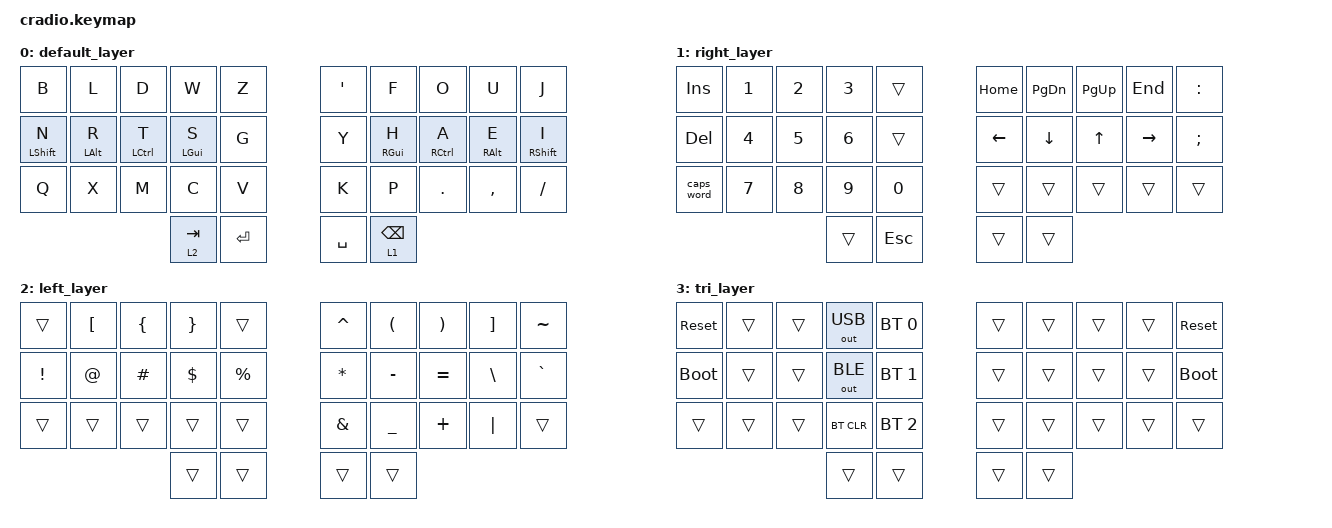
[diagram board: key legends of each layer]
// Copyright (c) 2022 The ZMK Contributors
// SPDX-License-Identifier: MIT

#include <behaviors.dtsi>
#include <dt-bindings/zmk/keys.h>
#include <dt-bindings/zmk/bt.h>
#include <dt-bindings/zmk/outputs.h>

/ {
    behaviors {
        ht: hold_tap {
            compatible = "zmk,behavior-hold-tap";
            #binding-cells = <2>;
            flavor = "tap-preferred";
            tapping-term-ms = <220>;
            quick-tap-ms = <150>;
            require-prior-idle-ms = <100>;
            bindings = <&kp>, <&kp>;
        };
    };

    conditional_layers {
        compatible = "zmk,conditional-layers";
        tri_layer {
            if-layers = <1 2>;
            then-layer = <3>;
        };
    };

    keymap {
        compatible = "zmk,keymap";
        default_layer {
            bindings = <
            &kp       B &kp       L  &kp        D &kp       W  &kp  Z     &kp SQT &kp       F &kp       O &kp       U     &kp       J
            &ht LSHFT N &ht LALT  R  &ht LCTRL  T &ht LGUI  S  &kp  G     &kp Y   &ht RGUI  H &ht RCTRL A &ht RALT  E     &ht RSHFT I
            &kp       Q &kp       X  &kp        M &kp       C  &kp  V     &kp K   &kp       P &kp       DOT &kp     COMMA &kp       FSLH
                                            &lt 2 TAB   &kp ENTER     &kp SPACE  &lt 1 BSPC
            >;
        };

        right_layer {
            bindings = <
        //╭──────────┬──────────┬──────────┬──────────┬──────────╮   ╭──────────┬──────────┬──────────┬──────────┬──────────╮
        //│ INSERT   │  1       │  2       │  3       │          │   │ HOME     │ PAGE DN  │ PAGE UP  │ END      │  :       │
            &kp INS    &kp N1     &kp N2     &kp N3     &trans         &kp HOME   &kp PG_DN  &kp PG_UP  &kp END    &kp COLON
        //├──────────┼──────────┼──────────┼──────────┼──────────┤   ├──────────┼──────────┼──────────┼──────────┼──────────┤
        //│ DELETE   │  4       │  5       │  6       │          │   │ LEFT     │ DOWN     │ UP       │ RIGHT    │  ;       │
            &kp DEL    &kp N4     &kp N5     &kp N6     &trans         &kp LEFT   &kp DOWN   &kp UP   &kp RIGHT   &kp SEMI
        //├──────────┼──────────┼──────────┼──────────┼──────────┤   ├──────────┼──────────┼──────────┼──────────┼──────────┤
        //│ CAPS     │  7       │  8       │  9       │  0       │   │          │          │          │          │          │
           &caps_word  &kp N7     &kp N8     &kp N9     &kp N0         &trans     &trans     &trans     &trans     &trans
        //╰──────────┴──────────┴──────────┼──────────┼──────────┤   ├──────────┼──────────┼──────────┴──────────┴──────────╯
                                             &trans     &kp ESC        &trans     &trans
        //                                 ╰──────────┴──────────╯   ╰──────────┴──────────╯
            >;
        };

        left_layer {
            bindings = <
        //╭──────────┬──────────┬──────────┬──────────┬──────────╮   ╭──────────┬──────────┬──────────┬──────────┬──────────╮
        //│          │  [       │  {       │  }       │          │   │  ^       │  (       │  )       │  ]       │  ~       │
            &trans     &kp LBKT   &kp LBRC   &kp RBRC   &trans         &kp CARET  &kp LPAR   &kp RPAR   &kp RBKT   &kp TILDE
        //├──────────┼──────────┼──────────┼──────────┼──────────┤   ├──────────┼──────────┼──────────┼──────────┼──────────┤
        //│  !       │  @       │  #       │  $       │  %       │   │  *       │  -       │  =       │  \       │  `       │
            &kp EXCL   &kp AT     &kp HASH   &kp DLLR   &kp PRCNT      &kp ASTRK  &kp MINUS  &kp EQUAL  &kp BSLH   &kp GRAVE
        //├──────────┼──────────┼──────────┼──────────┼──────────┤   ├──────────┼──────────┼──────────┼──────────┼──────────┤
        //│          │          │          │          │          │   │  &       │  _       │  +       │  │       │          │
            &trans     &trans     &trans     &trans     &trans         &kp AMPS   &kp UNDER  &kp PLUS   &kp PIPE   &trans
        //╰──────────┴──────────┴──────────┼──────────┼──────────┤   ├──────────┼──────────┼──────────┴──────────┴──────────╯
                                             &trans     &trans         &trans     &trans
        //                                 ╰──────────┴──────────╯   ╰──────────┴──────────╯
            >;
        };

        tri_layer {
            bindings = <
        //╭──────────┬──────────┬──────────┬──────────┬──────────╮   ╭──────────┬──────────┬──────────┬──────────┬──────────╮
        //│ RESET    │          │          │ USB Mode │PROFILE 0 │   │          │          │          │          │  RESET   │
           &sys_reset  &trans     &trans    &out OUT_USB &bt BT_SEL 0    &trans     &trans     &trans     &trans    &sys_reset
        //├──────────┼──────────┼──────────┼──────────┼──────────┤   ├──────────┼──────────┼──────────┼──────────┼──────────┤
        //│BOOTLOADER│          │          | BLE Mode |PROFILE 1 │   │          │          │          │          │BOOTLOADER│
          &bootloader  &trans     &trans    &out OUT_BLE &bt BT_SEL 1    &trans     &trans     &trans     &trans    &bootloader
        //├──────────┼──────────┼──────────┼──────────┼──────────┤   ├──────────┼──────────┼──────────┼──────────┼──────────┤
        //│          │          │          │ CLEAR BT │PROFILE 2 │   │          │          │          │          │          │
            &trans     &trans     &trans    &bt BT_CLR &bt BT_SEL 2    &trans     &trans     &trans     &trans     &trans
        //╰──────────┴──────────┴──────────┼──────────┼──────────┤   ├──────────┼──────────┼──────────┴──────────┴──────────╯
                                             &trans     &trans         &trans     &trans
        //                                 ╰──────────┴──────────╯   ╰──────────┴──────────╯
            >;
        };
    };
};
